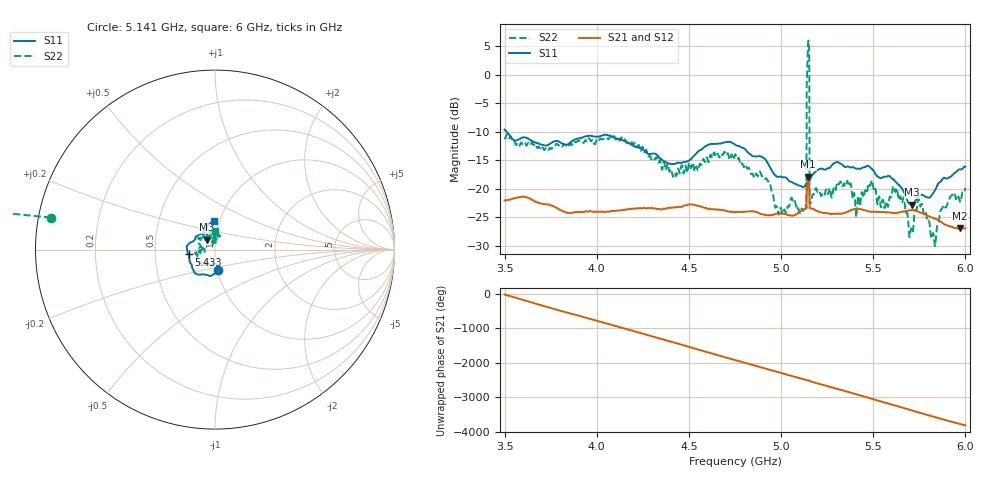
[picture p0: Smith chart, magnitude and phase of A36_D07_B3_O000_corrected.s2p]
! Created with skrf 1.9.0 (http://scikit-rf.org).
# Hz S RI R 50.0
!freq ReS11 ImS11 ReS21 ImS21 ReS12 ImS12 ReS22 ImS22
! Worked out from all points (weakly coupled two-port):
!   1601 points, 3.5 GHz to 6 GHz, reference 50 ohm
!   highest |S21| = -17.89 dB at 5.147 GHz (marker M1); lowest = -27.0 dB at 5.97 GHz (marker M2)
!   lowest |S11| = -22.8 dB at 5.711 GHz (marker M3), VSWR 1.16, Z = 45.3 + j5.05 ohm
!   |S11| at or under -10 dB: 3.512 GHz to end of sweep
!   |S22| runs from -30.1 to 6.0 dB; largest |S21 - S12| = 0.0012
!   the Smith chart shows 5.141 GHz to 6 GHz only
!   S11 on the Smith chart (normalised r, x): 5.141 GHz: 1.01, -0.23; 5.433 GHz: 0.74, -0.04; 6 GHz: 0.94, +0.30
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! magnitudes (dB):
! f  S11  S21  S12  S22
! 3.5 GHz  -9.6  -22.0  -22.0  -11.0
! 3.917 GHz  -11.1  -24.1  -24.1  -11.6
! 4.334 GHz  -14.3  -23.5  -23.5  -15.4
! 4.75 GHz  -12.2  -24.2  -24.1  -14.0
! 4.928 GHz  -15.6  -24.6  -24.6  -18.7
! 4.98 GHz  -17.9  -24.4  -24.4  -23.5
! 5.112 GHz  -19.6  -23.8  -23.8  -23.5
! 5.125 GHz  -19.6  -23.6  -23.6  -23.7
! 5.141 GHz  -18.9  -20.3  -20.2  -0.6
! 5.147 GHz  -18.7  -17.9  -17.9  5.7
! 5.152 GHz  -18.6  -19.2  -19.2  4.7
! 5.167 GHz  -17.7  -23.5  -23.5  -21.5
! 5.433 GHz  -16.5  -23.6  -23.6  -21.8
! 5.486 GHz  -16.3  -24.0  -24.0  -19.3
! 5.584 GHz  -17.8  -24.2  -24.1  -22.3
! 5.619 GHz  -18.7  -24.3  -24.3  -20.5
! 5.711 GHz  -22.8  -23.7  -23.7  -27.5
! 5.753 GHz  -21.2  -24.1  -24.1  -22.8
! 5.828 GHz  -20.6  -25.2  -25.2  -28.3
! 5.875 GHz  -18.4  -26.0  -25.9  -23.4
! 5.97 GHz  -16.6  -27.0  -26.9  -22.3
! 6 GHz  -16.1  -26.9  -26.9  -19.9
